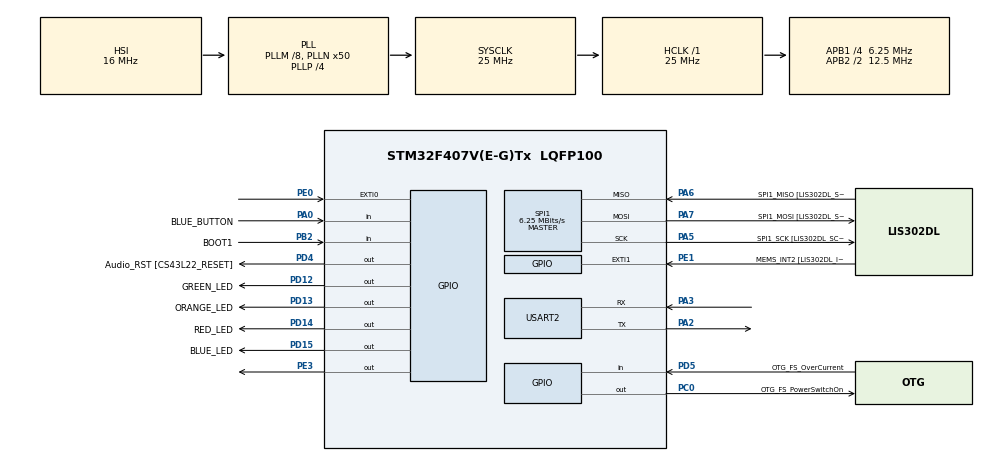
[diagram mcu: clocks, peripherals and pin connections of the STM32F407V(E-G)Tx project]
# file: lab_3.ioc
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Mcu.Family=STM32F4
Mcu.Name=STM32F407V(E-G)Tx
Mcu.Package=LQFP100
NVIC.EXTI0_IRQn=true\:0\:0\:false\:false\:true\:true\:true\:true
NVIC.PriorityGroup=NVIC_PRIORITYGROUP_4
NVIC.TIM7_IRQn=true\:0\:0\:false\:false\:true\:false\:true\:true
NVIC.TimeBase=TIM7_IRQn
NVIC.TimeBaseIP=TIM7
PA0-WKUP.GPIO_Label=BLUE_BUTTON
PA0-WKUP.Signal=GPIO_Input
PA10.GPIO_Label=OTG_FS_ID
PA10.GPIO_Mode=GPIO_MODE_AF_PP
PA10.GPIO_PuPd=GPIO_NOPULL
PA10.GPIO_Speed=GPIO_SPEED_FREQ_LOW
PA10.Signal=USB_OTG_FS_ID
PA11.GPIO_Label=OTG_FS_DM
PA11.GPIO_Mode=GPIO_MODE_AF_PP
PA11.GPIO_PuPd=GPIO_NOPULL
PA11.GPIO_Speed=GPIO_SPEED_FREQ_LOW
PA11.Signal=USB_OTG_FS_DM
PA12.GPIO_Label=OTG_FS_DP
PA12.GPIO_Mode=GPIO_MODE_AF_PP
PA12.GPIO_PuPd=GPIO_NOPULL
PA12.GPIO_Speed=GPIO_SPEED_FREQ_LOW
PA12.Signal=USB_OTG_FS_DP
PA13.GPIO_Label=SWDIO
PA13.Mode=Serial_Wire
PA13.Signal=SYS_JTMS-SWDIO
PA14.GPIO_Label=SWCLK
PA14.Mode=Serial_Wire
PA14.Signal=SYS_JTCK-SWCLK
PA2.Mode=Asynchronous
PA2.Signal=USART2_TX
PA3.Mode=Asynchronous
PA3.Signal=USART2_RX
PA4.GPIO_Label=I2S3_WS [CS43L22_LRCK]
PA4.GPIO_Mode=GPIO_MODE_AF_PP
PA4.GPIO_PuPd=GPIO_NOPULL
PA4.GPIO_Speed=GPIO_SPEED_FREQ_LOW
PA4.Signal=I2S3_WS
PA5.GPIO_Label=SPI1_SCK [LIS302DL_SCL/SPC]
PA5.GPIO_Mode=GPIO_MODE_AF_PP
PA5.GPIO_PuPd=GPIO_NOPULL
PA5.GPIO_Speed=GPIO_SPEED_FREQ_LOW
PA5.Mode=Full_Duplex_Master
PA5.Signal=SPI1_SCK
PA6.GPIO_Label=SPI1_MISO [LIS302DL_SDO]
PA6.GPIO_Mode=GPIO_MODE_AF_PP
PA6.GPIO_PuPd=GPIO_NOPULL
PA6.GPIO_Speed=GPIO_SPEED_FREQ_LOW
PA6.Mode=Full_Duplex_Master
PA6.Signal=SPI1_MISO
PA7.GPIO_Label=SPI1_MOSI [LIS302DL_SDA/SDI/SDO]
PA7.GPIO_Mode=GPIO_MODE_AF_PP
PA7.GPIO_PuPd=GPIO_NOPULL
PA7.GPIO_Speed=GPIO_SPEED_FREQ_LOW
PA7.Mode=Full_Duplex_Master
PA7.Signal=SPI1_MOSI
PA9.GPIO_Label=VBUS_FS
PA9.GPIO_Mode=GPIO_MODE_INPUT
PA9.GPIO_PuPd=GPIO_NOPULL
PA9.Signal=USB_OTG_FS_VBUS
PB10.GPIO_Label=CLK_IN [MP45DT02_CLK]
PB10.GPIO_Mode=GPIO_MODE_AF_PP
PB10.GPIO_PuPd=GPIO_NOPULL
PB10.GPIO_Speed=GPIO_SPEED_FREQ_LOW
PB10.Signal=I2S2_CK
PB2.GPIO_Label=BOOT1
PB2.GPIO_Mode=GPIO_MODE_INPUT
PB2.GPIO_PuPd=GPIO_NOPULL
PB2.Signal=GPIO_Input
PB3.GPIO_Label=SWO
PB3.Signal=SYS_JTDO-SWO
PB6.GPIO_Label=Audio_SCL [CS43L22_SCL]
PB6.GPIO_Mode=GPIO_MODE_AF_OD
PB6.GPIO_PuPd=GPIO_NOPULL
PB6.GPIO_Speed=GPIO_SPEED_FREQ_LOW
PB6.Signal=I2C1_SCL
PB9.GPIO_Label=Audio_SDA [CS43L22_SDA]
PB9.GPIO_Mode=GPIO_MODE_AF_OD
PB9.GPIO_PuPd=GPIO_NOPULL
PB9.GPIO_Speed=GPIO_SPEED_FREQ_LOW
PB9.Signal=I2C1_SDA
PC0.GPIO_Label=OTG_FS_PowerSwitchOn
PC0.GPIO_PuPd=GPIO_NOPULL
PC0.GPIO_Speed=GPIO_SPEED_FREQ_LOW
PC0.PinState=GPIO_PIN_SET
PC0.Signal=GPIO_Output
PC10.GPIO_Label=I2S3_SCK [CS43L22_SCLK]
PC10.GPIO_Mode=GPIO_MODE_AF_PP
PC10.GPIO_PuPd=GPIO_NOPULL
PC10.GPIO_Speed=GPIO_SPEED_FREQ_LOW
PC10.Signal=I2S3_CK
PC12.GPIO_Label=I2S3_SD [CS43L22_SDIN]
PC12.GPIO_Mode=GPIO_MODE_AF_PP
PC12.GPIO_PuPd=GPIO_NOPULL
PC12.GPIO_Speed=GPIO_SPEED_FREQ_LOW
PC12.Signal=I2S3_SD
PC14-OSC32_IN.GPIO_Label=PC14-OSC32_IN
PC14-OSC32_IN.Signal=RCC_OSC32_IN
PC15-OSC32_OUT.GPIO_Label=PC15-OSC32_OUT
PC15-OSC32_OUT.Signal=RCC_OSC32_OUT
PC3.GPIO_Label=PDM_OUT [MP45DT02_DOUT]
PC3.GPIO_Mode=GPIO_MODE_AF_PP
PC3.GPIO_PuPd=GPIO_NOPULL
PC3.GPIO_Speed=GPIO_SPEED_FREQ_LOW
PC3.Signal=I2S2_SD
PC7.GPIO_Label=I2S3_MCK [CS43L22_MCLK]
PC7.GPIO_Mode=GPIO_MODE_AF_PP
PC7.GPIO_PuPd=GPIO_NOPULL
PC7.GPIO_Speed=GPIO_SPEED_FREQ_LOW
PC7.Signal=I2S3_MCK
PD12.GPIO_Label=GREEN_LED
PD12.Signal=GPIO_Output
PD13.GPIO_Label=ORANGE_LED
PD13.Signal=GPIO_Output
PD14.GPIO_Label=RED_LED
PD14.Signal=GPIO_Output
PD15.GPIO_Label=BLUE_LED
PD15.Signal=GPIO_Output
PD4.GPIO_Label=Audio_RST [CS43L22_RESET]
PD4.GPIO_PuPd=GPIO_NOPULL
PD4.GPIO_Speed=GPIO_SPEED_FREQ_LOW
PD4.Signal=GPIO_Output
PD5.GPIO_Label=OTG_FS_OverCurrent
PD5.GPIO_Mode=GPIO_MODE_INPUT
PD5.GPIO_PuPd=GPIO_NOPULL
PD5.Signal=GPIO_Input
PE0.Signal=GPXTI0
PE1.GPIO_Label=MEMS_INT2 [LIS302DL_INT2]
PE1.GPIO_ModeDefaultEXTI=GPIO_MODE_EVT_RISING
PE1.GPIO_PuPd=GPIO_NOPULL
PE1.Signal=GPXTI1
PE3.PinState=GPIO_PIN_SET
PE3.Signal=GPIO_Output
PH0-OSC_IN.GPIO_Label=PH0-OSC_IN
PH0-OSC_IN.Signal=RCC_OSC_IN
PH1-OSC_OUT.GPIO_Label=PH1-OSC_OUT
PH1-OSC_OUT.Signal=RCC_OSC_OUT
ProjectManager.HeapSize=0x200
ProjectManager.StackSize=0x400
ProjectManager.TargetToolchain=STM32CubeIDE
RCC.48MHZClocksFreq_Value=14285714.285714285
RCC.AHBFreq_Value=25000000
RCC.APB1CLKDivider=RCC_HCLK_DIV4
RCC.APB1Freq_Value=6250000
RCC.APB1TimFreq_Value=12500000
RCC.APB2CLKDivider=RCC_HCLK_DIV2
RCC.APB2Freq_Value=12500000
RCC.APB2TimFreq_Value=25000000
RCC.CortexFreq_Value=25000000
RCC.HCLKFreq_Value=25000000
RCC.HSE_VALUE=8000000
RCC.HSI_VALUE=16000000
RCC.LSE_VALUE=32768
RCC.PLLM=8
RCC.PLLN=50
RCC.PLLP=RCC_PLLP_DIV4
RCC.PLLQ=7
RCC.SYSCLKFreq_VALUE=25000000
RCC.SYSCLKSource=RCC_SYSCLKSOURCE_PLLCLK
RCC.VCOOutputFreq_Value=100000000
SPI1.CalculateBaudRate=6.25 MBits/s
SPI1.Direction=SPI_DIRECTION_2LINES
SPI1.Mode=SPI_MODE_MASTER
SPI1.VirtualType=VM_MASTER
USART2.VirtualMode=VM_ASYNC
VP_SYS_VS_tim7.Mode=TIM7
board=STM32F407G-DISC1

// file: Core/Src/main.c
/* USER CODE BEGIN Header */
/**
  ******************************************************************************
  * @file           : main.c
  * @brief          : Main program body
  ******************************************************************************
  * @attention
  *
  * <h2><center>&copy; Copyright (c) 2021 STMicroelectronics.
  * All rights reserved.</center></h2>
  *
  * This software component is licensed by ST under BSD 3-Clause license,
  * the "License"; You may not use this file except in compliance with the
  * License. You may obtain a copy of the License at:
  *                        opensource.org/licenses/BSD-3-Clause
  *
  ******************************************************************************
  */
/* USER CODE END Header */

#include "main.h"

/* USER CODE BEGIN Includes */
#include "FreeRTOS.h"
#include "task.h"
#include "semphr.h"
/* USER CODE END Includes */

/* USER CODE BEGIN PM */
#define LIS3DSH_WHO_AM_I_ADDR                0x0F
#define LIS3DSH_STAT_ADDR                    0x18
#define LIS3DSH_CTRL_REG4_ADDR               0x20
#define LIS3DSH_CTRL_REG1_ADDR               0x21
#define LIS3DSH_CTRL_REG2_ADDR               0x22
#define LIS3DSH_CTRL_REG3_ADDR               0x23
#define LIS3DSH_CTRL_REG5_ADDR               0x24
#define LIS3DSH_CTRL_REG6_ADDR               0x25
#define LIS3DSH_STATUS_ADDR                  0x27
#define LIS3DSH_OUT_X_L_ADDR                 0x28
#define LIS3DSH_OUT_X_H_ADDR                 0x29
#define LIS3DSH_OUT_Y_L_ADDR                 0x2A
#define LIS3DSH_OUT_Y_H_ADDR                 0x2B
#define LIS3DSH_OUT_Z_L_ADDR                 0x2C
#define LIS3DSH_OUT_Z_H_ADDR                 0x2D
#define LIS3DSH_ST1_1_ADDR                   0x40
#define LIS3DSH_ST1_2_ADDR                   0x41
#define LIS3DSH_THRS1_1_ADDR                 0x57
#define LIS3DSH_MASK1_B_ADDR                 0x59
#define LIS3DSH_MASK1_A_ADDR                 0x5A
#define LIS3DSH_SETT1_ADDR                   0x5B
#define LIS3DSH_OUTS1_ADDR                   0x5F
/* USER CODE END PM */

SPI_HandleTypeDef hspi1;
UART_HandleTypeDef huart2;

/* USER CODE BEGIN PV */
SemaphoreHandle_t xSemaphore = NULL;
uint8_t data;
/* USER CODE END PV */

void SystemClock_Config(void);
static void MX_GPIO_Init(void);
static void MX_USART2_UART_Init(void);
static void MX_SPI1_Init(void);

/* USER CODE BEGIN 0 */
void MEMS_Write(uint8_t address, uint8_t data)
{
    HAL_GPIO_WritePin(GPIOE, GPIO_PIN_3, GPIO_PIN_RESET);
    HAL_SPI_Transmit(&hspi1, &address, 1, 10);
    HAL_SPI_Transmit(&hspi1, &data, 1, 10);
    HAL_GPIO_WritePin(GPIOE, GPIO_PIN_3, GPIO_PIN_SET);
}

void MEMS_Read(uint8_t address, uint8_t *data)
{
    address |= 0x80;
    HAL_GPIO_WritePin(GPIOE, GPIO_PIN_3, GPIO_PIN_RESET);
    HAL_SPI_Transmit(&hspi1, &address, 1, 10);
    HAL_SPI_Receive(&hspi1, data, 1, 10);
    HAL_GPIO_WritePin(GPIOE, GPIO_PIN_3, GPIO_PIN_SET);
}

void MEMS_Init(void)
{
    MEMS_Write(LIS3DSH_CTRL_REG1_ADDR, 0x01);  /* SM1_EN=1 */
    MEMS_Write(LIS3DSH_CTRL_REG3_ADDR, 0x48);  /* IEA=1, INT1_EN=1 */
    MEMS_Write(LIS3DSH_CTRL_REG4_ADDR, 0x67);  /* ODR=100Hz, Zen=Yen=Xen=1 */
    MEMS_Write(LIS3DSH_CTRL_REG5_ADDR, 0x00);  /* default */
    MEMS_Write(LIS3DSH_THRS1_1_ADDR,   0x55);  /* threshold */
    MEMS_Write(LIS3DSH_ST1_1_ADDR,     0x05);  /* Step0: GNTH1 */
    MEMS_Write(LIS3DSH_ST1_2_ADDR,     0x11);  /* Step1: CONT */
    MEMS_Write(LIS3DSH_MASK1_B_ADDR,   0xFC);
    MEMS_Write(LIS3DSH_MASK1_A_ADDR,   0xFC);
    MEMS_Write(LIS3DSH_SETT1_ADDR,     0x01);
}

void Green_LED_Task(void *pvParameters)
{
    for(;;)
    {
        HAL_GPIO_TogglePin(GPIOD, GPIO_PIN_12);
        uint32_t beginTime = HAL_GetTick();
        while(HAL_GetTick() - beginTime < 500 / portTICK_RATE_MS) {}
    }
}

void vHandlerTask(void *pvParameters)
{
    for(;;)
    {

        if(xSemaphoreTake(xSemaphore, portMAX_DELAY) == pdTRUE)
        {

            for(int i = 0; i < 10; i++)
            {
                HAL_GPIO_TogglePin(GPIOD, GPIO_PIN_13);
                uint32_t beginTime = HAL_GetTick();
                while(HAL_GetTick() - beginTime < 500 / portTICK_RATE_MS) {}
            }

            MEMS_Init();
        }
    }
}

void HAL_GPIO_EXTI_Callback(uint16_t GPIO_Pin)
{
    if(GPIO_Pin == GPIO_PIN_0)
    {

        HAL_GPIO_TogglePin(GPIOD, GPIO_PIN_14);

        BaseType_t xHigherPriorityTaskWoken = pdFALSE;
        xSemaphoreGiveFromISR(xSemaphore, &xHigherPriorityTaskWoken);
        portYIELD_FROM_ISR(xHigherPriorityTaskWoken);
    }
}
/* USER CODE END 0 */

int main(void)
{

  HAL_Init();

  SystemClock_Config();

  MX_GPIO_Init();
  MX_USART2_UART_Init();
  MX_SPI1_Init();

  /* USER CODE BEGIN 2 */

  MEMS_Init();

  xSemaphore = xSemaphoreCreateBinary();

  xTaskCreate(Green_LED_Task, "Green LED", 1000, NULL, 1, NULL);
  xTaskCreate(vHandlerTask,   "Handler",   1000, NULL, 4, NULL);

  vTaskStartScheduler();

  /* USER CODE END 2 */

  while (1) {}
}

void SystemClock_Config(void)
{
  RCC_OscInitTypeDef RCC_OscInitStruct = {0};
  RCC_ClkInitTypeDef RCC_ClkInitStruct = {0};

  __HAL_RCC_PWR_CLK_ENABLE();
  __HAL_PWR_VOLTAGESCALING_CONFIG(PWR_REGULATOR_VOLTAGE_SCALE1);

  RCC_OscInitStruct.OscillatorType      = RCC_OSCILLATORTYPE_HSI;
  RCC_OscInitStruct.HSIState            = RCC_HSI_ON;
  RCC_OscInitStruct.HSICalibrationValue = RCC_HSICALIBRATION_DEFAULT;
  RCC_OscInitStruct.PLL.PLLState        = RCC_PLL_ON;
  RCC_OscInitStruct.PLL.PLLSource       = RCC_PLLSOURCE_HSI;
  RCC_OscInitStruct.PLL.PLLM            = 8;
  RCC_OscInitStruct.PLL.PLLN            = 50;
  RCC_OscInitStruct.PLL.PLLP            = RCC_PLLP_DIV4;
  RCC_OscInitStruct.PLL.PLLQ            = 7;
  if (HAL_RCC_OscConfig(&RCC_OscInitStruct) != HAL_OK) { Error_Handler(); }

  RCC_ClkInitStruct.ClockType      = RCC_CLOCKTYPE_HCLK | RCC_CLOCKTYPE_SYSCLK
                                   | RCC_CLOCKTYPE_PCLK1 | RCC_CLOCKTYPE_PCLK2;
  RCC_ClkInitStruct.SYSCLKSource   = RCC_SYSCLKSOURCE_PLLCLK;
  RCC_ClkInitStruct.AHBCLKDivider  = RCC_SYSCLK_DIV1;
  RCC_ClkInitStruct.APB1CLKDivider = RCC_HCLK_DIV4;
  RCC_ClkInitStruct.APB2CLKDivider = RCC_HCLK_DIV2;
  if (HAL_RCC_ClockConfig(&RCC_ClkInitStruct, FLASH_LATENCY_0) != HAL_OK) { Error_Handler(); }
}

/**
  * @brief SPI1 Initialization
  */
static void MX_SPI1_Init(void)
{
  hspi1.Instance               = SPI1;
  hspi1.Init.Mode              = SPI_MODE_MASTER;
  hspi1.Init.Direction         = SPI_DIRECTION_2LINES;
  hspi1.Init.DataSize          = SPI_DATASIZE_8BIT;
  hspi1.Init.CLKPolarity       = SPI_POLARITY_LOW;
  hspi1.Init.CLKPhase          = SPI_PHASE_1EDGE;
  hspi1.Init.NSS               = SPI_NSS_SOFT;
  hspi1.Init.BaudRatePrescaler = SPI_BAUDRATEPRESCALER_2;
  hspi1.Init.FirstBit          = SPI_FIRSTBIT_MSB;
  hspi1.Init.TIMode            = SPI_TIMODE_DISABLE;
  hspi1.Init.CRCCalculation    = SPI_CRCCALCULATION_DISABLE;
  hspi1.Init.CRCPolynomial     = 10;
  if (HAL_SPI_Init(&hspi1) != HAL_OK) { Error_Handler(); }
}

/**
  * @brief USART2 Initialization
  */
static void MX_USART2_UART_Init(void)
{
  huart2.Instance          = USART2;
  huart2.Init.BaudRate     = 115200;
  huart2.Init.WordLength   = UART_WORDLENGTH_8B;
  huart2.Init.StopBits     = UART_STOPBITS_1;
  huart2.Init.Parity       = UART_PARITY_NONE;
  huart2.Init.Mode         = UART_MODE_TX_RX;
  huart2.Init.HwFlowCtl    = UART_HWCONTROL_NONE;
  huart2.Init.OverSampling = UART_OVERSAMPLING_16;
  if (HAL_UART_Init(&huart2) != HAL_OK) { Error_Handler(); }
}

/**
  * @brief GPIO Initialization
  */
static void MX_GPIO_Init(void)
{
  GPIO_InitTypeDef GPIO_InitStruct = {0};

  __HAL_RCC_GPIOE_CLK_ENABLE();
  __HAL_RCC_GPIOH_CLK_ENABLE();
  __HAL_RCC_GPIOC_CLK_ENABLE();
  __HAL_RCC_GPIOA_CLK_ENABLE();
  __HAL_RCC_GPIOB_CLK_ENABLE();
  __HAL_RCC_GPIOD_CLK_ENABLE();

  /* CS 預設 HIGH（未選中） */
  HAL_GPIO_WritePin(GPIOE, GPIO_PIN_3, GPIO_PIN_SET);
  /* LED 全部預設 OFF */
  HAL_GPIO_WritePin(GPIOD, GPIO_PIN_12 | GPIO_PIN_13 | GPIO_PIN_14 | GPIO_PIN_15, GPIO_PIN_RESET);

  /* PE3：CS for SPI */
  GPIO_InitStruct.Pin   = GPIO_PIN_3;
  GPIO_InitStruct.Mode  = GPIO_MODE_OUTPUT_PP;
  GPIO_InitStruct.Pull  = GPIO_NOPULL;
  GPIO_InitStruct.Speed = GPIO_SPEED_FREQ_LOW;
  HAL_GPIO_Init(GPIOE, &GPIO_InitStruct);

  /* PD12 Green, PD13 Orange, PD14 Red, PD15 Blue */
  GPIO_InitStruct.Pin   = GPIO_PIN_12 | GPIO_PIN_13 | GPIO_PIN_14 | GPIO_PIN_15;
  GPIO_InitStruct.Mode  = GPIO_MODE_OUTPUT_PP;
  GPIO_InitStruct.Pull  = GPIO_NOPULL;
  GPIO_InitStruct.Speed = GPIO_SPEED_FREQ_LOW;
  HAL_GPIO_Init(GPIOD, &GPIO_InitStruct);

  /* PE0：MEMS INT1，rising edge 觸發 EXTI */
  GPIO_InitStruct.Pin  = GPIO_PIN_0;
  GPIO_InitStruct.Mode = GPIO_MODE_IT_RISING;
  GPIO_InitStruct.Pull = GPIO_NOPULL;
  HAL_GPIO_Init(GPIOE, &GPIO_InitStruct);

  /* PE1：MEMS INT2，event 模式 */
  GPIO_InitStruct.Pin  = GPIO_PIN_1;
  GPIO_InitStruct.Mode = GPIO_MODE_EVT_RISING;
  GPIO_InitStruct.Pull = GPIO_NOPULL;
  HAL_GPIO_Init(GPIOE, &GPIO_InitStruct);

  /* EXTI0 priority 必須 >= 5（configLIBRARY_MAX_SYSCALL_INTERRUPT_PRIORITY） */
  HAL_NVIC_SetPriority(EXTI0_IRQn, 5, 0);
  HAL_NVIC_EnableIRQ(EXTI0_IRQn);
}

/**
  * @brief TIM period elapsed callback：由 stm32f4xx_hal_timebase_tim.c 的 TIM7 觸發
  */
void HAL_TIM_PeriodElapsedCallback(TIM_HandleTypeDef *htim)
{
  if (htim->Instance == TIM7)
  {
    HAL_IncTick();
  }
}

void Error_Handler(void)
{
  __disable_irq();
  while (1) {}
}
